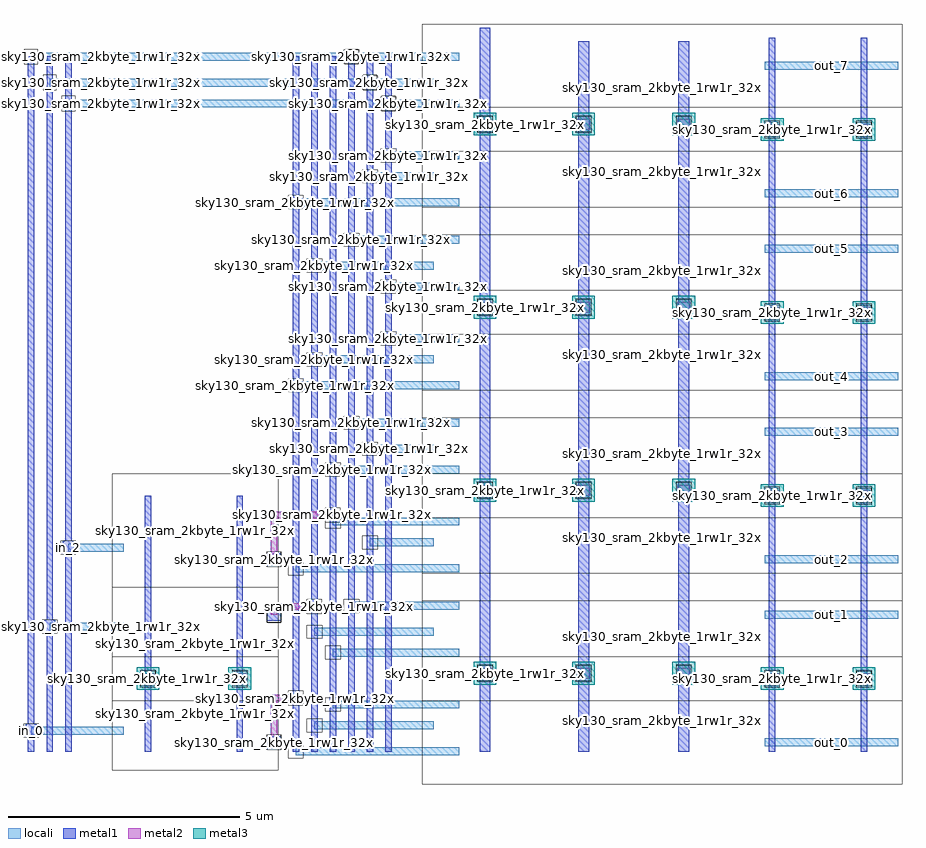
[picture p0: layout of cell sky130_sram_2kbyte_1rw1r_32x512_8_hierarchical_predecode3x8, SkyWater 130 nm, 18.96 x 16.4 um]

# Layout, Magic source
magic
tech sky130A
magscale 1 2
<< locali >>
rect 94 3062 1942 3096
rect 3259 3023 3836 3057
rect 174 2950 1832 2984
rect 254 2860 1942 2894
rect 1636 2636 1942 2670
rect 1556 2546 1832 2580
rect 3259 2473 3836 2507
rect 1236 2434 1942 2468
rect 1476 2272 1942 2306
rect 3259 2233 3836 2267
rect 1316 2160 1832 2194
rect 1636 2070 1942 2104
rect 1636 1846 1942 1880
rect 1316 1756 1832 1790
rect 3259 1683 3836 1717
rect 1236 1644 1942 1678
rect 1476 1482 1942 1516
rect 3259 1443 3836 1477
rect 1556 1370 1832 1404
rect 1396 1280 1942 1314
rect 1396 1056 1942 1090
rect 254 943 494 977
rect 1556 966 1832 1000
rect 3259 893 3836 927
rect 1236 854 1942 888
rect 1476 692 1942 726
rect 3259 653 3836 687
rect 174 603 494 637
rect 1316 580 1832 614
rect 1396 490 1942 524
rect 1396 266 1942 300
rect 94 153 494 187
rect 1316 176 1832 210
rect 3259 103 3836 137
rect 1236 64 1942 98
<< metal1 >>
rect 80 199 108 3080
rect 160 649 188 3080
rect 240 989 268 3080
rect 231 931 277 989
rect 151 591 197 649
rect 71 141 117 199
rect 80 80 108 141
rect 160 80 188 591
rect 240 80 268 931
rect 584 80 612 1185
rect 980 80 1008 1185
rect 1110 884 1174 936
rect 1110 644 1174 696
rect 1110 94 1174 146
rect 1222 80 1250 3080
rect 1302 80 1330 3080
rect 1382 80 1410 3080
rect 1462 80 1490 3080
rect 1542 80 1570 3080
rect 1622 80 1650 3080
rect 2030 80 2076 3204
rect 2454 80 2502 3146
rect 2886 80 2934 3146
rect 3278 80 3306 3160
rect 3674 80 3702 3160
<< metal2 >>
rect 2025 2764 2081 2812
rect 2450 2764 2506 2812
rect 2882 2764 2938 2812
rect 3264 2741 3320 2789
rect 3660 2741 3716 2789
rect 2025 1974 2081 2022
rect 2450 1974 2506 2022
rect 2882 1974 2938 2022
rect 3264 1951 3320 1999
rect 3660 1951 3716 1999
rect 2025 1184 2081 1232
rect 2450 1184 2506 1232
rect 2882 1184 2938 1232
rect 3264 1161 3320 1209
rect 3660 1161 3716 1209
rect 1128 1087 1396 1115
rect 1128 910 1156 1087
rect 1128 692 1316 720
rect 1128 670 1156 692
rect 570 371 626 419
rect 966 371 1022 419
rect 2025 394 2081 442
rect 2450 394 2506 442
rect 2882 394 2938 442
rect 3264 371 3320 419
rect 3660 371 3716 419
rect 1128 297 1236 325
rect 1128 120 1156 297
<< metal3 >>
rect 2004 2739 2102 2837
rect 2429 2739 2527 2837
rect 2861 2739 2959 2837
rect 3243 2716 3341 2814
rect 3639 2716 3737 2814
rect 2004 1949 2102 2047
rect 2429 1949 2527 2047
rect 2861 1949 2959 2047
rect 3243 1926 3341 2024
rect 3639 1926 3737 2024
rect 2004 1159 2102 1257
rect 2429 1159 2527 1257
rect 2861 1159 2959 1257
rect 3243 1136 3341 1234
rect 3639 1136 3737 1234
rect 549 346 647 444
rect 945 346 1043 444
rect 2004 369 2102 467
rect 2429 369 2527 467
rect 2861 369 2959 467
rect 3243 346 3341 444
rect 3639 346 3737 444
use sky130_sram_2kbyte_1rw1r_32x512_8_and3_dec  sky130_sram_2kbyte_1rw1r_32x512_8_and3_dec_7
transform 1 0 1782 0 1 0
box 0 -60 2072 490
use sky130_sram_2kbyte_1rw1r_32x512_8_and3_dec  sky130_sram_2kbyte_1rw1r_32x512_8_and3_dec_6
transform 1 0 1782 0 -1 790
box 0 -60 2072 490
use sky130_sram_2kbyte_1rw1r_32x512_8_and3_dec  sky130_sram_2kbyte_1rw1r_32x512_8_and3_dec_5
transform 1 0 1782 0 1 790
box 0 -60 2072 490
use sky130_sram_2kbyte_1rw1r_32x512_8_and3_dec  sky130_sram_2kbyte_1rw1r_32x512_8_and3_dec_4
transform 1 0 1782 0 -1 1580
box 0 -60 2072 490
use sky130_sram_2kbyte_1rw1r_32x512_8_and3_dec  sky130_sram_2kbyte_1rw1r_32x512_8_and3_dec_3
transform 1 0 1782 0 1 1580
box 0 -60 2072 490
use sky130_sram_2kbyte_1rw1r_32x512_8_and3_dec  sky130_sram_2kbyte_1rw1r_32x512_8_and3_dec_2
transform 1 0 1782 0 -1 2370
box 0 -60 2072 490
use sky130_sram_2kbyte_1rw1r_32x512_8_and3_dec  sky130_sram_2kbyte_1rw1r_32x512_8_and3_dec_1
transform 1 0 1782 0 1 2370
box 0 -60 2072 490
use sky130_sram_2kbyte_1rw1r_32x512_8_and3_dec  sky130_sram_2kbyte_1rw1r_32x512_8_and3_dec_0
transform 1 0 1782 0 -1 3160
box 0 -60 2072 490
use sky130_sram_2kbyte_1rw1r_32x512_8_pinv_dec  sky130_sram_2kbyte_1rw1r_32x512_8_pinv_dec_2
transform 1 0 400 0 1 0
box 44 0 760 490
use sky130_sram_2kbyte_1rw1r_32x512_8_pinv_dec  sky130_sram_2kbyte_1rw1r_32x512_8_pinv_dec_1
transform 1 0 400 0 -1 790
box 44 0 760 490
use sky130_sram_2kbyte_1rw1r_32x512_8_pinv_dec  sky130_sram_2kbyte_1rw1r_32x512_8_pinv_dec_0
transform 1 0 400 0 1 790
box 44 0 760 490
use sky130_sram_2kbyte_1rw1r_32x512_8_contact_7  sky130_sram_2kbyte_1rw1r_32x512_8_contact_7_0
transform 1 0 2020 0 1 2751
box 0 0 66 74
use sky130_sram_2kbyte_1rw1r_32x512_8_contact_19  sky130_sram_2kbyte_1rw1r_32x512_8_contact_19_0
transform 1 0 2021 0 1 2756
box 0 0 64 64
use sky130_sram_2kbyte_1rw1r_32x512_8_contact_7  sky130_sram_2kbyte_1rw1r_32x512_8_contact_7_1
transform 1 0 3259 0 1 2728
box 0 0 66 74
use sky130_sram_2kbyte_1rw1r_32x512_8_contact_19  sky130_sram_2kbyte_1rw1r_32x512_8_contact_19_1
transform 1 0 3260 0 1 2733
box 0 0 64 64
use sky130_sram_2kbyte_1rw1r_32x512_8_contact_7  sky130_sram_2kbyte_1rw1r_32x512_8_contact_7_2
transform 1 0 2020 0 1 1961
box 0 0 66 74
use sky130_sram_2kbyte_1rw1r_32x512_8_contact_19  sky130_sram_2kbyte_1rw1r_32x512_8_contact_19_2
transform 1 0 2021 0 1 1966
box 0 0 64 64
use sky130_sram_2kbyte_1rw1r_32x512_8_contact_7  sky130_sram_2kbyte_1rw1r_32x512_8_contact_7_3
transform 1 0 3259 0 1 1938
box 0 0 66 74
use sky130_sram_2kbyte_1rw1r_32x512_8_contact_19  sky130_sram_2kbyte_1rw1r_32x512_8_contact_19_3
transform 1 0 3260 0 1 1943
box 0 0 64 64
use sky130_sram_2kbyte_1rw1r_32x512_8_contact_7  sky130_sram_2kbyte_1rw1r_32x512_8_contact_7_4
transform 1 0 2020 0 1 1171
box 0 0 66 74
use sky130_sram_2kbyte_1rw1r_32x512_8_contact_19  sky130_sram_2kbyte_1rw1r_32x512_8_contact_19_4
transform 1 0 2021 0 1 1176
box 0 0 64 64
use sky130_sram_2kbyte_1rw1r_32x512_8_contact_7  sky130_sram_2kbyte_1rw1r_32x512_8_contact_7_5
transform 1 0 3259 0 1 1148
box 0 0 66 74
use sky130_sram_2kbyte_1rw1r_32x512_8_contact_19  sky130_sram_2kbyte_1rw1r_32x512_8_contact_19_5
transform 1 0 3260 0 1 1153
box 0 0 64 64
use sky130_sram_2kbyte_1rw1r_32x512_8_contact_7  sky130_sram_2kbyte_1rw1r_32x512_8_contact_7_6
transform 1 0 2020 0 1 381
box 0 0 66 74
use sky130_sram_2kbyte_1rw1r_32x512_8_contact_19  sky130_sram_2kbyte_1rw1r_32x512_8_contact_19_6
transform 1 0 2021 0 1 386
box 0 0 64 64
use sky130_sram_2kbyte_1rw1r_32x512_8_contact_7  sky130_sram_2kbyte_1rw1r_32x512_8_contact_7_7
transform 1 0 3259 0 1 358
box 0 0 66 74
use sky130_sram_2kbyte_1rw1r_32x512_8_contact_19  sky130_sram_2kbyte_1rw1r_32x512_8_contact_19_7
transform 1 0 3260 0 1 363
box 0 0 64 64
use sky130_sram_2kbyte_1rw1r_32x512_8_contact_7  sky130_sram_2kbyte_1rw1r_32x512_8_contact_7_8
transform 1 0 565 0 1 358
box 0 0 66 74
use sky130_sram_2kbyte_1rw1r_32x512_8_contact_19  sky130_sram_2kbyte_1rw1r_32x512_8_contact_19_8
transform 1 0 566 0 1 363
box 0 0 64 64
use sky130_sram_2kbyte_1rw1r_32x512_8_contact_7  sky130_sram_2kbyte_1rw1r_32x512_8_contact_7_9
transform 1 0 3655 0 1 2728
box 0 0 66 74
use sky130_sram_2kbyte_1rw1r_32x512_8_contact_19  sky130_sram_2kbyte_1rw1r_32x512_8_contact_19_9
transform 1 0 3656 0 1 2733
box 0 0 64 64
use sky130_sram_2kbyte_1rw1r_32x512_8_contact_7  sky130_sram_2kbyte_1rw1r_32x512_8_contact_7_10
transform 1 0 2877 0 1 2751
box 0 0 66 74
use sky130_sram_2kbyte_1rw1r_32x512_8_contact_19  sky130_sram_2kbyte_1rw1r_32x512_8_contact_19_10
transform 1 0 2878 0 1 2756
box 0 0 64 64
use sky130_sram_2kbyte_1rw1r_32x512_8_contact_7  sky130_sram_2kbyte_1rw1r_32x512_8_contact_7_11
transform 1 0 2445 0 1 2751
box 0 0 66 74
use sky130_sram_2kbyte_1rw1r_32x512_8_contact_19  sky130_sram_2kbyte_1rw1r_32x512_8_contact_19_11
transform 1 0 2446 0 1 2756
box 0 0 64 64
use sky130_sram_2kbyte_1rw1r_32x512_8_contact_7  sky130_sram_2kbyte_1rw1r_32x512_8_contact_7_12
transform 1 0 3655 0 1 1938
box 0 0 66 74
use sky130_sram_2kbyte_1rw1r_32x512_8_contact_19  sky130_sram_2kbyte_1rw1r_32x512_8_contact_19_12
transform 1 0 3656 0 1 1943
box 0 0 64 64
use sky130_sram_2kbyte_1rw1r_32x512_8_contact_7  sky130_sram_2kbyte_1rw1r_32x512_8_contact_7_13
transform 1 0 2877 0 1 1961
box 0 0 66 74
use sky130_sram_2kbyte_1rw1r_32x512_8_contact_19  sky130_sram_2kbyte_1rw1r_32x512_8_contact_19_13
transform 1 0 2878 0 1 1966
box 0 0 64 64
use sky130_sram_2kbyte_1rw1r_32x512_8_contact_7  sky130_sram_2kbyte_1rw1r_32x512_8_contact_7_14
transform 1 0 2445 0 1 1961
box 0 0 66 74
use sky130_sram_2kbyte_1rw1r_32x512_8_contact_19  sky130_sram_2kbyte_1rw1r_32x512_8_contact_19_14
transform 1 0 2446 0 1 1966
box 0 0 64 64
use sky130_sram_2kbyte_1rw1r_32x512_8_contact_7  sky130_sram_2kbyte_1rw1r_32x512_8_contact_7_15
transform 1 0 3655 0 1 1148
box 0 0 66 74
use sky130_sram_2kbyte_1rw1r_32x512_8_contact_19  sky130_sram_2kbyte_1rw1r_32x512_8_contact_19_15
transform 1 0 3656 0 1 1153
box 0 0 64 64
use sky130_sram_2kbyte_1rw1r_32x512_8_contact_7  sky130_sram_2kbyte_1rw1r_32x512_8_contact_7_16
transform 1 0 2877 0 1 1171
box 0 0 66 74
use sky130_sram_2kbyte_1rw1r_32x512_8_contact_19  sky130_sram_2kbyte_1rw1r_32x512_8_contact_19_16
transform 1 0 2878 0 1 1176
box 0 0 64 64
use sky130_sram_2kbyte_1rw1r_32x512_8_contact_7  sky130_sram_2kbyte_1rw1r_32x512_8_contact_7_17
transform 1 0 2445 0 1 1171
box 0 0 66 74
use sky130_sram_2kbyte_1rw1r_32x512_8_contact_19  sky130_sram_2kbyte_1rw1r_32x512_8_contact_19_17
transform 1 0 2446 0 1 1176
box 0 0 64 64
use sky130_sram_2kbyte_1rw1r_32x512_8_contact_7  sky130_sram_2kbyte_1rw1r_32x512_8_contact_7_18
transform 1 0 3655 0 1 358
box 0 0 66 74
use sky130_sram_2kbyte_1rw1r_32x512_8_contact_19  sky130_sram_2kbyte_1rw1r_32x512_8_contact_19_18
transform 1 0 3656 0 1 363
box 0 0 64 64
use sky130_sram_2kbyte_1rw1r_32x512_8_contact_7  sky130_sram_2kbyte_1rw1r_32x512_8_contact_7_19
transform 1 0 2877 0 1 381
box 0 0 66 74
use sky130_sram_2kbyte_1rw1r_32x512_8_contact_19  sky130_sram_2kbyte_1rw1r_32x512_8_contact_19_19
transform 1 0 2878 0 1 386
box 0 0 64 64
use sky130_sram_2kbyte_1rw1r_32x512_8_contact_7  sky130_sram_2kbyte_1rw1r_32x512_8_contact_7_20
transform 1 0 2445 0 1 381
box 0 0 66 74
use sky130_sram_2kbyte_1rw1r_32x512_8_contact_19  sky130_sram_2kbyte_1rw1r_32x512_8_contact_19_20
transform 1 0 2446 0 1 386
box 0 0 64 64
use sky130_sram_2kbyte_1rw1r_32x512_8_contact_7  sky130_sram_2kbyte_1rw1r_32x512_8_contact_7_21
transform 1 0 961 0 1 358
box 0 0 66 74
use sky130_sram_2kbyte_1rw1r_32x512_8_contact_19  sky130_sram_2kbyte_1rw1r_32x512_8_contact_19_21
transform 1 0 962 0 1 363
box 0 0 64 64
use sky130_sram_2kbyte_1rw1r_32x512_8_contact_14  sky130_sram_2kbyte_1rw1r_32x512_8_contact_14_0
transform 1 0 1607 0 1 2844
box 0 0 58 66
use sky130_sram_2kbyte_1rw1r_32x512_8_contact_14  sky130_sram_2kbyte_1rw1r_32x512_8_contact_14_1
transform 1 0 225 0 1 2844
box 0 0 58 66
use sky130_sram_2kbyte_1rw1r_32x512_8_contact_14  sky130_sram_2kbyte_1rw1r_32x512_8_contact_14_2
transform 1 0 1527 0 1 2934
box 0 0 58 66
use sky130_sram_2kbyte_1rw1r_32x512_8_contact_14  sky130_sram_2kbyte_1rw1r_32x512_8_contact_14_3
transform 1 0 145 0 1 2934
box 0 0 58 66
use sky130_sram_2kbyte_1rw1r_32x512_8_contact_14  sky130_sram_2kbyte_1rw1r_32x512_8_contact_14_4
transform 1 0 1447 0 1 3046
box 0 0 58 66
use sky130_sram_2kbyte_1rw1r_32x512_8_contact_14  sky130_sram_2kbyte_1rw1r_32x512_8_contact_14_5
transform 1 0 65 0 1 3046
box 0 0 58 66
use sky130_sram_2kbyte_1rw1r_32x512_8_contact_20  sky130_sram_2kbyte_1rw1r_32x512_8_contact_20_0
transform 1 0 1364 0 1 1069
box 0 0 64 64
use sky130_sram_2kbyte_1rw1r_32x512_8_contact_19  sky130_sram_2kbyte_1rw1r_32x512_8_contact_19_22
transform 1 0 1110 0 1 878
box 0 0 64 64
use sky130_sram_2kbyte_1rw1r_32x512_8_contact_14  sky130_sram_2kbyte_1rw1r_32x512_8_contact_14_6
transform 1 0 1113 0 1 877
box 0 0 58 66
use sky130_sram_2kbyte_1rw1r_32x512_8_contact_20  sky130_sram_2kbyte_1rw1r_32x512_8_contact_20_1
transform 1 0 1284 0 1 674
box 0 0 64 64
use sky130_sram_2kbyte_1rw1r_32x512_8_contact_19  sky130_sram_2kbyte_1rw1r_32x512_8_contact_19_23
transform 1 0 1110 0 1 638
box 0 0 64 64
use sky130_sram_2kbyte_1rw1r_32x512_8_contact_14  sky130_sram_2kbyte_1rw1r_32x512_8_contact_14_7
transform 1 0 1113 0 1 637
box 0 0 58 66
use sky130_sram_2kbyte_1rw1r_32x512_8_contact_20  sky130_sram_2kbyte_1rw1r_32x512_8_contact_20_2
transform 1 0 1204 0 1 279
box 0 0 64 64
use sky130_sram_2kbyte_1rw1r_32x512_8_contact_19  sky130_sram_2kbyte_1rw1r_32x512_8_contact_19_24
transform 1 0 1110 0 1 88
box 0 0 64 64
use sky130_sram_2kbyte_1rw1r_32x512_8_contact_14  sky130_sram_2kbyte_1rw1r_32x512_8_contact_14_8
transform 1 0 1113 0 1 87
box 0 0 58 66
use sky130_sram_2kbyte_1rw1r_32x512_8_contact_17  sky130_sram_2kbyte_1rw1r_32x512_8_contact_17_0
transform 1 0 1603 0 1 2848
box 0 0 66 58
use sky130_sram_2kbyte_1rw1r_32x512_8_contact_17  sky130_sram_2kbyte_1rw1r_32x512_8_contact_17_1
transform 1 0 1523 0 1 2938
box 0 0 66 58
use sky130_sram_2kbyte_1rw1r_32x512_8_contact_17  sky130_sram_2kbyte_1rw1r_32x512_8_contact_17_2
transform 1 0 1443 0 1 3050
box 0 0 66 58
use sky130_sram_2kbyte_1rw1r_32x512_8_contact_17  sky130_sram_2kbyte_1rw1r_32x512_8_contact_17_3
transform 1 0 1603 0 1 2624
box 0 0 66 58
use sky130_sram_2kbyte_1rw1r_32x512_8_contact_17  sky130_sram_2kbyte_1rw1r_32x512_8_contact_17_4
transform 1 0 1523 0 1 2534
box 0 0 66 58
use sky130_sram_2kbyte_1rw1r_32x512_8_contact_17  sky130_sram_2kbyte_1rw1r_32x512_8_contact_17_5
transform 1 0 1203 0 1 2422
box 0 0 66 58
use sky130_sram_2kbyte_1rw1r_32x512_8_contact_17  sky130_sram_2kbyte_1rw1r_32x512_8_contact_17_6
transform 1 0 1603 0 1 2058
box 0 0 66 58
use sky130_sram_2kbyte_1rw1r_32x512_8_contact_17  sky130_sram_2kbyte_1rw1r_32x512_8_contact_17_7
transform 1 0 1283 0 1 2148
box 0 0 66 58
use sky130_sram_2kbyte_1rw1r_32x512_8_contact_17  sky130_sram_2kbyte_1rw1r_32x512_8_contact_17_8
transform 1 0 1443 0 1 2260
box 0 0 66 58
use sky130_sram_2kbyte_1rw1r_32x512_8_contact_17  sky130_sram_2kbyte_1rw1r_32x512_8_contact_17_9
transform 1 0 1603 0 1 1834
box 0 0 66 58
use sky130_sram_2kbyte_1rw1r_32x512_8_contact_17  sky130_sram_2kbyte_1rw1r_32x512_8_contact_17_10
transform 1 0 1283 0 1 1744
box 0 0 66 58
use sky130_sram_2kbyte_1rw1r_32x512_8_contact_17  sky130_sram_2kbyte_1rw1r_32x512_8_contact_17_11
transform 1 0 1203 0 1 1632
box 0 0 66 58
use sky130_sram_2kbyte_1rw1r_32x512_8_contact_17  sky130_sram_2kbyte_1rw1r_32x512_8_contact_17_12
transform 1 0 1363 0 1 1268
box 0 0 66 58
use sky130_sram_2kbyte_1rw1r_32x512_8_contact_17  sky130_sram_2kbyte_1rw1r_32x512_8_contact_17_13
transform 1 0 1523 0 1 1358
box 0 0 66 58
use sky130_sram_2kbyte_1rw1r_32x512_8_contact_17  sky130_sram_2kbyte_1rw1r_32x512_8_contact_17_14
transform 1 0 1443 0 1 1470
box 0 0 66 58
use sky130_sram_2kbyte_1rw1r_32x512_8_contact_17  sky130_sram_2kbyte_1rw1r_32x512_8_contact_17_15
transform 1 0 1363 0 1 1044
box 0 0 66 58
use sky130_sram_2kbyte_1rw1r_32x512_8_contact_17  sky130_sram_2kbyte_1rw1r_32x512_8_contact_17_16
transform 1 0 1523 0 1 954
box 0 0 66 58
use sky130_sram_2kbyte_1rw1r_32x512_8_contact_17  sky130_sram_2kbyte_1rw1r_32x512_8_contact_17_17
transform 1 0 1203 0 1 842
box 0 0 66 58
use sky130_sram_2kbyte_1rw1r_32x512_8_contact_17  sky130_sram_2kbyte_1rw1r_32x512_8_contact_17_18
transform 1 0 1363 0 1 478
box 0 0 66 58
use sky130_sram_2kbyte_1rw1r_32x512_8_contact_17  sky130_sram_2kbyte_1rw1r_32x512_8_contact_17_19
transform 1 0 1283 0 1 568
box 0 0 66 58
use sky130_sram_2kbyte_1rw1r_32x512_8_contact_17  sky130_sram_2kbyte_1rw1r_32x512_8_contact_17_20
transform 1 0 1443 0 1 680
box 0 0 66 58
use sky130_sram_2kbyte_1rw1r_32x512_8_contact_17  sky130_sram_2kbyte_1rw1r_32x512_8_contact_17_21
transform 1 0 1363 0 1 254
box 0 0 66 58
use sky130_sram_2kbyte_1rw1r_32x512_8_contact_17  sky130_sram_2kbyte_1rw1r_32x512_8_contact_17_22
transform 1 0 1283 0 1 164
box 0 0 66 58
use sky130_sram_2kbyte_1rw1r_32x512_8_contact_17  sky130_sram_2kbyte_1rw1r_32x512_8_contact_17_23
transform 1 0 1203 0 1 52
box 0 0 66 58
use sky130_sram_2kbyte_1rw1r_32x512_8_contact_17  sky130_sram_2kbyte_1rw1r_32x512_8_contact_17_24
transform 1 0 221 0 1 931
box 0 0 66 58
use sky130_sram_2kbyte_1rw1r_32x512_8_contact_17  sky130_sram_2kbyte_1rw1r_32x512_8_contact_17_25
transform 1 0 141 0 1 591
box 0 0 66 58
use sky130_sram_2kbyte_1rw1r_32x512_8_contact_17  sky130_sram_2kbyte_1rw1r_32x512_8_contact_17_26
transform 1 0 61 0 1 141
box 0 0 66 58
<< labels >>
rlabel metal3 s 945 346 1043 444 4 vdd
rlabel metal3 s 2861 369 2959 467 4 vdd
rlabel metal3 s 3639 346 3737 444 4 vdd
rlabel metal3 s 2429 1159 2527 1257 4 vdd
rlabel metal3 s 3639 2716 3737 2814 4 vdd
rlabel metal3 s 2861 1159 2959 1257 4 vdd
rlabel metal3 s 2429 369 2527 467 4 vdd
rlabel metal3 s 2861 1949 2959 2047 4 vdd
rlabel metal3 s 2861 2739 2959 2837 4 vdd
rlabel metal3 s 3639 1926 3737 2024 4 vdd
rlabel metal3 s 2429 1949 2527 2047 4 vdd
rlabel metal3 s 2429 2739 2527 2837 4 vdd
rlabel metal3 s 3639 1136 3737 1234 4 vdd
rlabel metal3 s 3243 2716 3341 2814 4 gnd
rlabel metal3 s 2004 1949 2102 2047 4 gnd
rlabel metal3 s 549 346 647 444 4 gnd
rlabel metal3 s 3243 1926 3341 2024 4 gnd
rlabel metal3 s 2004 369 2102 467 4 gnd
rlabel metal3 s 3243 1136 3341 1234 4 gnd
rlabel metal3 s 3243 346 3341 444 4 gnd
rlabel metal3 s 2004 1159 2102 1257 4 gnd
rlabel metal3 s 2004 2739 2102 2837 4 gnd
rlabel metal1 s 71 141 117 199 4 in_0
rlabel metal1 s 151 591 197 649 4 in_1
rlabel metal1 s 231 931 277 989 4 in_2
rlabel locali s 3547 120 3547 120 4 out_0
rlabel locali s 3547 670 3547 670 4 out_1
rlabel locali s 3547 910 3547 910 4 out_2
rlabel locali s 3547 1460 3547 1460 4 out_3
rlabel locali s 3547 1700 3547 1700 4 out_4
rlabel locali s 3547 2250 3547 2250 4 out_5
rlabel locali s 3547 2490 3547 2490 4 out_6
rlabel locali s 3547 3040 3547 3040 4 out_7
<< properties >>
string FIXED_BBOX 0 0 3836 3160
<< end >>
